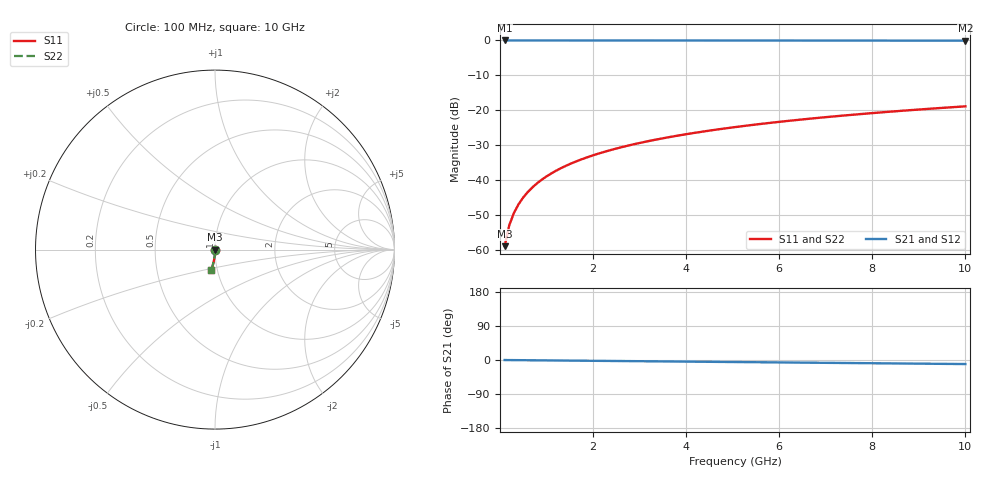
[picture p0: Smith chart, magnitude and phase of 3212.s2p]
# Hz S RI R 50.00
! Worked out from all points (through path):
!   100 points, 100 MHz to 10 GHz, reference 50 ohm
!   highest |S21| = 0.00 dB at 100 MHz (marker M1); lowest = -0.1 dB at 10 GHz (marker M2)
!   group delay of S21, straight-line fit = 2.97 ps
!   lowest |S11| = -58.9 dB at 100 MHz (marker M3), VSWR 1.00, Z = 50 - j0.114 ohm
!   |S11| at or under -10 dB: start of sweep to end of sweep
!   |S22| runs from -58.9 to -18.9 dB; largest |S21 - S12| = 0
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1e8  0.000119 -0.00113  0.9999 -0.00185  0.9999 -0.00185  0.000119 -0.00113
2e8  0.000112 -0.00227  0.9999 -0.00369  0.9999 -0.00369  0.000112 -0.00227
3e8  0.0001 -0.00341  0.9998 -0.00554  0.9998 -0.00554  0.0001 -0.00341
4e8  8.48e-05 -0.00454  0.9998 -0.00738  0.9998 -0.00738  8.48e-05 -0.00454
5e8  6.49e-05 -0.00568  0.9998 -0.00923  0.9998 -0.00923  6.49e-05 -0.00568
6e8  4.08e-05 -0.00681  0.9998 -0.0111  0.9998 -0.0111  4.08e-05 -0.00681
7e8  1.25e-05 -0.00795  0.9997 -0.0129  0.9997 -0.0129  1.25e-05 -0.00795
8e8  -2.01e-05 -0.00908  0.9997 -0.0148  0.9997 -0.0148  -2.01e-05 -0.00908
9e8  -5.69e-05 -0.0102  0.9997 -0.0166  0.9997 -0.0166  -5.69e-05 -0.0102
1.1e9  -0.000143 -0.0125  0.9996 -0.0203  0.9996 -0.0203  -0.000143 -0.0125
1.4e9  -0.000304 -0.0159  0.9994 -0.0259  0.9994 -0.0259  -0.000304 -0.0159
1.8e9  -0.000578 -0.0204  0.9991 -0.0333  0.9991 -0.0333  -0.000578 -0.0204
2.1e9  -0.000828 -0.0239  0.9988 -0.0388  0.9988 -0.0388  -0.000828 -0.0239
2.5e9  -0.00122 -0.0284  0.9984 -0.0462  0.9984 -0.0462  -0.00122 -0.0284
2.9e9  -0.00168 -0.033  0.9978 -0.0536  0.9978 -0.0536  -0.00168 -0.033
3.4e9  -0.00235 -0.0386  0.9971 -0.0629  0.9971 -0.0629  -0.00235 -0.0386
4.2e9  -0.00365 -0.0477  0.9956 -0.0777  0.9956 -0.0777  -0.00365 -0.0477
5.1e9  -0.00544 -0.0579  0.9936 -0.0943  0.9936 -0.0943  -0.00544 -0.0579
5.9e9  -0.00732 -0.0669  0.9915 -0.1091  0.9915 -0.1091  -0.00732 -0.0669
6.7e9  -0.00947 -0.0759  0.9891 -0.1239  0.9891 -0.1239  -0.00947 -0.0759
8.4e9  -0.0149 -0.0948  0.983 -0.1551  0.983 -0.1551  -0.0149 -0.0948
1e10  -0.0212 -0.1121  0.9759 -0.1843  0.9759 -0.1843  -0.0212 -0.1121
